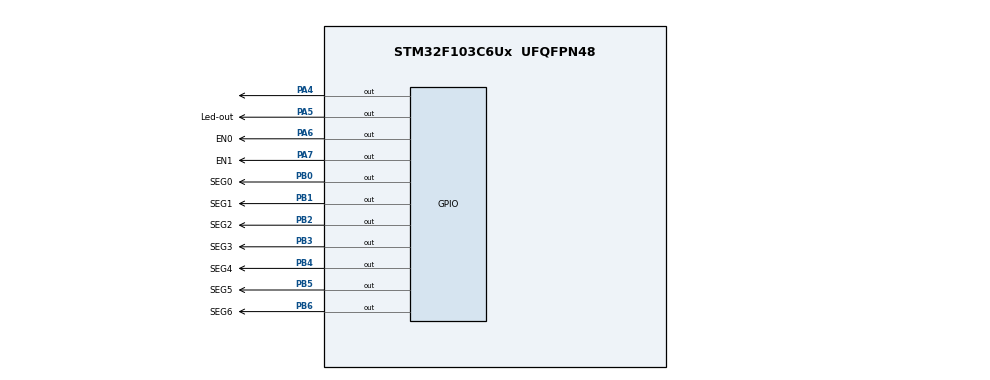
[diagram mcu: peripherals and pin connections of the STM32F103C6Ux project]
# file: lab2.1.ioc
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Mcu.Family=STM32F1
Mcu.Name=STM32F103C6Ux
Mcu.Package=UFQFPN48
NVIC.PriorityGroup=NVIC_PRIORITYGROUP_4
NVIC.TIM2_IRQn=true\:0\:0\:false\:false\:true\:true\:true
PA4.Signal=GPIO_Output
PA5.GPIO_Label=Led-out
PA5.Signal=GPIO_Output
PA6.GPIO_Label=EN0
PA6.Signal=GPIO_Output
PA7.GPIO_Label=EN1
PA7.Signal=GPIO_Output
PB0.GPIO_Label=SEG0
PB0.Signal=GPIO_Output
PB1.GPIO_Label=SEG1
PB1.Signal=GPIO_Output
PB2.GPIO_Label=SEG2
PB2.Signal=GPIO_Output
PB3.GPIO_Label=SEG3
PB3.Signal=GPIO_Output
PB4.GPIO_Label=SEG4
PB4.Signal=GPIO_Output
PB5.GPIO_Label=SEG5
PB5.Signal=GPIO_Output
PB6.GPIO_Label=SEG6
PB6.Signal=GPIO_Output
ProjectManager.HeapSize=0x200
ProjectManager.StackSize=0x400
ProjectManager.TargetToolchain=STM32CubeIDE
RCC.APB1Freq_Value=8000000
RCC.APB2Freq_Value=8000000
TIM2.Period=9
TIM2.Prescaler=7999
VP_SYS_VS_ND.Mode=No_Debug
VP_TIM2_VS_ClockSourceINT.Mode=Internal
board=custom

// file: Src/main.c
/* USER CODE BEGIN Header */
/**
  ******************************************************************************
  * @file           : main.c
  * @brief          : Main program body
  ******************************************************************************
  * @attention
  *
  * <h2><center>&copy; Copyright (c) 2026 STMicroelectronics.
  * All rights reserved.</center></h2>
  *
  * This software component is licensed by ST under BSD 3-Clause license,
  * the "License"; You may not use this file except in compliance with the
  * License. You may obtain a copy of the License at:
  *                        opensource.org/licenses/BSD-3-Clause
  *
  ******************************************************************************
  */
/* USER CODE END Header */
#include "main.h"

TIM_HandleTypeDef htim2;

void SystemClock_Config(void);
static void MX_GPIO_Init(void);
static void MX_TIM2_Init(void);

uint8_t seg_digits[10] = {
	0b11000000, //0
	0b11111001, //1
	0b10100100, //2
	0b10110000, //3
	0b10011001, //4
	0b10010010, //5
	0b10000010, //6
	0b11111000, //7
	0b10000000, //8
	0b10010000  //9
};

void display7SEG(int firstPin, int num){
	if ( num > 9 ) return;
	uint8_t pattern = seg_digits[num];

	for ( int i = 0; i < 7; i++){
		HAL_GPIO_WritePin(GPIOB, firstPin << i, (pattern & (1 << i)) ? GPIO_PIN_SET : GPIO_PIN_RESET);
	}
}

int main(void)
{

  /* MCU Configuration--------------------------------------------------------*/

  /* Reset of all peripherals, Initializes the Flash interface and the Systick. */
  HAL_Init();

  /* Configure the system clock */
  SystemClock_Config();

  /* Initialize all configured peripherals */
  MX_GPIO_Init();
  MX_TIM2_Init();
  /* USER CODE BEGIN 2 */
  HAL_TIM_Base_Start_IT(&htim2);
  /* USER CODE END 2 */

  /* Infinite loop */
  /* USER CODE BEGIN WHILE */
  while (1)
  {
  }
  /* USER CODE END 3 */
}

void SystemClock_Config(void)
{
  RCC_OscInitTypeDef RCC_OscInitStruct = {0};
  RCC_ClkInitTypeDef RCC_ClkInitStruct = {0};

  /** Initializes the RCC Oscillators according to the specified parameters
  * in the RCC_OscInitTypeDef structure.
  */
  RCC_OscInitStruct.OscillatorType = RCC_OSCILLATORTYPE_HSI;
  RCC_OscInitStruct.HSIState = RCC_HSI_ON;
  RCC_OscInitStruct.HSICalibrationValue = RCC_HSICALIBRATION_DEFAULT;
  RCC_OscInitStruct.PLL.PLLState = RCC_PLL_NONE;
  if (HAL_RCC_OscConfig(&RCC_OscInitStruct) != HAL_OK)
  {
    Error_Handler();
  }
  /** Initializes the CPU, AHB and APB buses clocks
  */
  RCC_ClkInitStruct.ClockType = RCC_CLOCKTYPE_HCLK|RCC_CLOCKTYPE_SYSCLK
                              |RCC_CLOCKTYPE_PCLK1|RCC_CLOCKTYPE_PCLK2;
  RCC_ClkInitStruct.SYSCLKSource = RCC_SYSCLKSOURCE_HSI;
  RCC_ClkInitStruct.AHBCLKDivider = RCC_SYSCLK_DIV1;
  RCC_ClkInitStruct.APB1CLKDivider = RCC_HCLK_DIV1;
  RCC_ClkInitStruct.APB2CLKDivider = RCC_HCLK_DIV1;

  if (HAL_RCC_ClockConfig(&RCC_ClkInitStruct, FLASH_LATENCY_0) != HAL_OK)
  {
    Error_Handler();
  }
}

static void MX_TIM2_Init(void)
{

  TIM_ClockConfigTypeDef sClockSourceConfig = {0};
  TIM_MasterConfigTypeDef sMasterConfig = {0};

  htim2.Instance = TIM2;
  htim2.Init.Prescaler = 7999;
  htim2.Init.CounterMode = TIM_COUNTERMODE_UP;
  htim2.Init.Period = 9;
  htim2.Init.ClockDivision = TIM_CLOCKDIVISION_DIV1;
  htim2.Init.AutoReloadPreload = TIM_AUTORELOAD_PRELOAD_DISABLE;
  if (HAL_TIM_Base_Init(&htim2) != HAL_OK)
  {
    Error_Handler();
  }
  sClockSourceConfig.ClockSource = TIM_CLOCKSOURCE_INTERNAL;
  if (HAL_TIM_ConfigClockSource(&htim2, &sClockSourceConfig) != HAL_OK)
  {
    Error_Handler();
  }
  sMasterConfig.MasterOutputTrigger = TIM_TRGO_RESET;
  sMasterConfig.MasterSlaveMode = TIM_MASTERSLAVEMODE_DISABLE;
  if (HAL_TIMEx_MasterConfigSynchronization(&htim2, &sMasterConfig) != HAL_OK)
  {
    Error_Handler();
  }

}

static void MX_GPIO_Init(void)
{
  GPIO_InitTypeDef GPIO_InitStruct = {0};

  /* GPIO Ports Clock Enable */
  __HAL_RCC_GPIOA_CLK_ENABLE();
  __HAL_RCC_GPIOB_CLK_ENABLE();

  /*Configure GPIO pin Output Level */
  HAL_GPIO_WritePin(GPIOA, GPIO_PIN_4|Led_out_Pin|EN0_Pin|EN1_Pin, GPIO_PIN_RESET);

  /*Configure GPIO pin Output Level */
  HAL_GPIO_WritePin(GPIOB, SEG0_Pin|SEG1_Pin|SEG2_Pin|SEG3_Pin
                          |SEG4_Pin|SEG5_Pin|SEG6_Pin, GPIO_PIN_RESET);

  /*Configure GPIO pins : PA4 Led_out_Pin EN0_Pin EN1_Pin */
  GPIO_InitStruct.Pin = GPIO_PIN_4|Led_out_Pin|EN0_Pin|EN1_Pin;
  GPIO_InitStruct.Mode = GPIO_MODE_OUTPUT_PP;
  GPIO_InitStruct.Pull = GPIO_NOPULL;
  GPIO_InitStruct.Speed = GPIO_SPEED_FREQ_LOW;
  HAL_GPIO_Init(GPIOA, &GPIO_InitStruct);

  /*Configure GPIO pins : SEG0_Pin SEG1_Pin SEG2_Pin SEG3_Pin
                           SEG4_Pin SEG5_Pin SEG6_Pin */
  GPIO_InitStruct.Pin = SEG0_Pin|SEG1_Pin|SEG2_Pin|SEG3_Pin
                          |SEG4_Pin|SEG5_Pin|SEG6_Pin;
  GPIO_InitStruct.Mode = GPIO_MODE_OUTPUT_PP;
  GPIO_InitStruct.Pull = GPIO_NOPULL;
  GPIO_InitStruct.Speed = GPIO_SPEED_FREQ_LOW;
  HAL_GPIO_Init(GPIOB, &GPIO_InitStruct);

}

/* USER CODE BEGIN 4 */
int counter = 0;
int digitcounter = 0;
void HAL_TIM_PeriodElapsedCallback(TIM_HandleTypeDef *htim){
	if (htim->Instance == TIM2){
			counter++;
			if (counter >= 100){
				counter = 0;
				HAL_GPIO_TogglePin(GPIOA, GPIO_PIN_5);
			}

			digitCounter++;
			if (digitCounter >= 50){
				digitCounter = 0;
				if (currentDisplay == 0){
					HAL_GPIO_WritePin(GPIOA, GPIO_PIN_6, GPIO_PIN_RESET);
					HAL_GPIO_WritePin(GPIOA, GPIO_PIN_7, GPIO_PIN_SET);
					display7SEG(GPIO_PIN_0, 1);
					currentDisplay = 1;
				}
				else {
					HAL_GPIO_WritePin(GPIOA, GPIO_PIN_6, GPIO_PIN_SET);
					HAL_GPIO_WritePin(GPIOA, GPIO_PIN_7, GPIO_PIN_RESET);
					display7SEG(GPIO_PIN_0, 2);
					currentDisplay = 0;
				}
			}
		}
}
/* USER CODE END 4 */

void Error_Handler(void)
{
  __disable_irq();
  while (1)
  {
  }
}

/************************ (C) COPYRIGHT STMicroelectronics *****END OF FILE****/
